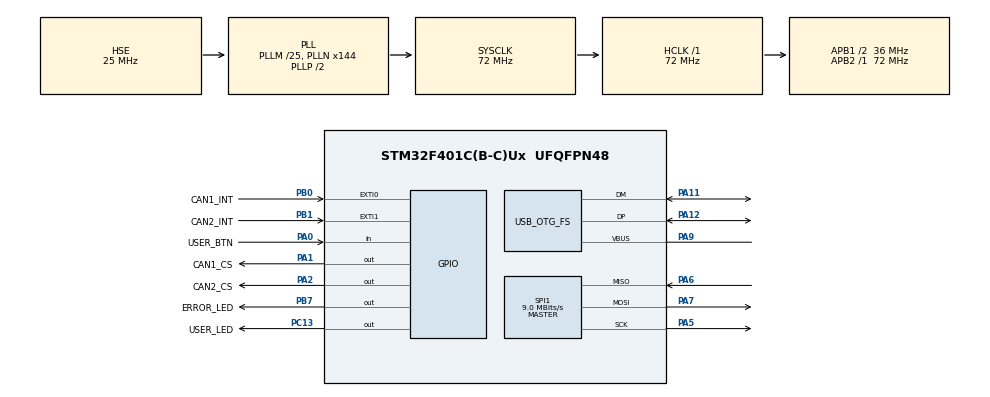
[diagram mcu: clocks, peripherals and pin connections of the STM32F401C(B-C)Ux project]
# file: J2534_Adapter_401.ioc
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Mcu.Family=STM32F4
Mcu.Name=STM32F401C(B-C)Ux
Mcu.Package=UFQFPN48
NVIC.EXTI0_IRQn=true\:0\:0\:false\:false\:true\:true\:true\:true
NVIC.EXTI1_IRQn=true\:0\:0\:false\:false\:true\:true\:true\:true
NVIC.OTG_FS_IRQn=true\:0\:0\:false\:false\:true\:false\:true\:true
NVIC.PriorityGroup=NVIC_PRIORITYGROUP_4
PA0-WKUP.GPIO_Label=USER_BTN
PA0-WKUP.GPIO_PuPd=GPIO_PULLUP
PA0-WKUP.Signal=GPIO_Input
PA1.GPIO_Label=CAN1_CS
PA1.PinState=GPIO_PIN_SET
PA1.Signal=GPIO_Output
PA11.Mode=Device_Only
PA11.Signal=USB_OTG_FS_DM
PA12.Mode=Device_Only
PA12.Signal=USB_OTG_FS_DP
PA13.Mode=Serial_Wire
PA13.Signal=SYS_JTMS-SWDIO
PA14.Mode=Serial_Wire
PA14.Signal=SYS_JTCK-SWCLK
PA2.GPIO_Label=CAN2_CS
PA2.PinState=GPIO_PIN_SET
PA2.Signal=GPIO_Output
PA5.Mode=Full_Duplex_Master
PA5.Signal=SPI1_SCK
PA6.Mode=Full_Duplex_Master
PA6.Signal=SPI1_MISO
PA7.Mode=Full_Duplex_Master
PA7.Signal=SPI1_MOSI
PA9.Mode=Activate_VBUS
PA9.Signal=USB_OTG_FS_VBUS
PB0.GPIO_Label=CAN1_INT
PB0.GPIO_ModeDefaultEXTI=GPIO_MODE_IT_FALLING
PB0.Signal=GPXTI0
PB1.GPIO_Label=CAN2_INT
PB1.GPIO_ModeDefaultEXTI=GPIO_MODE_IT_FALLING
PB1.Signal=GPXTI1
PB7.GPIO_Label=ERROR_LED
PB7.GPIO_ModeDefaultOutputPP=GPIO_MODE_OUTPUT_OD
PB7.GPIO_PuPd=GPIO_NOPULL
PB7.PinState=GPIO_PIN_SET
PB7.Signal=GPIO_Output
PC13-ANTI_TAMP.GPIO_Label=USER_LED
PC13-ANTI_TAMP.GPIO_ModeDefaultOutputPP=GPIO_MODE_OUTPUT_OD
PC13-ANTI_TAMP.GPIO_PuPd=GPIO_NOPULL
PC13-ANTI_TAMP.PinState=GPIO_PIN_SET
PC13-ANTI_TAMP.Signal=GPIO_Output
PC14-OSC32_IN.Mode=LSE-External-Oscillator
PC14-OSC32_IN.Signal=RCC_OSC32_IN
PC15-OSC32_OUT.Mode=LSE-External-Oscillator
PC15-OSC32_OUT.Signal=RCC_OSC32_OUT
PH0\ -\ OSC_IN.Mode=HSE-External-Oscillator
PH0\ -\ OSC_IN.Signal=RCC_OSC_IN
PH1\ -\ OSC_OUT.Mode=HSE-External-Oscillator
PH1\ -\ OSC_OUT.Signal=RCC_OSC_OUT
ProjectManager.HeapSize=0x200
ProjectManager.StackSize=0x400
ProjectManager.TargetToolchain=STM32CubeIDE
RCC.48MHZClocksFreq_Value=48000000
RCC.AHBFreq_Value=72000000
RCC.APB1CLKDivider=RCC_HCLK_DIV2
RCC.APB1Freq_Value=36000000
RCC.APB1TimFreq_Value=72000000
RCC.APB2Freq_Value=72000000
RCC.APB2TimFreq_Value=72000000
RCC.CortexFreq_Value=72000000
RCC.HCLKFreq_Value=72000000
RCC.HSE_VALUE=25000000
RCC.HSI_VALUE=16000000
RCC.PLLM=25
RCC.PLLN=144
RCC.PLLQ=3
RCC.RCC_RTC_Clock_Source=RCC_RTCCLKSOURCE_LSE
RCC.RCC_RTC_Clock_SourceVirtual=RCC_RTCCLKSOURCE_LSE
RCC.SYSCLKFreq_VALUE=72000000
RCC.SYSCLKSource=RCC_SYSCLKSOURCE_PLLCLK
RCC.VCOOutputFreq_Value=144000000
SPI1.BaudRatePrescaler=SPI_BAUDRATEPRESCALER_8
SPI1.CalculateBaudRate=9.0 MBits/s
SPI1.Direction=SPI_DIRECTION_2LINES
SPI1.Mode=SPI_MODE_MASTER
SPI1.VirtualType=VM_MASTER
USB_DEVICE.CLASS_NAME_FS=CDC
USB_DEVICE.USBD_SELF_POWERED=0
USB_DEVICE.VirtualMode=Cdc
USB_DEVICE.VirtualModeFS=Cdc_FS
USB_OTG_FS.VirtualMode=Device_Only
VP_RTC_VS_RTC_Activate.Mode=RTC_Enabled
VP_USB_DEVICE_VS_USB_DEVICE_CDC_FS.Mode=CDC_FS
board=custom

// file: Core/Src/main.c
/* USER CODE BEGIN Header */
/**
  ******************************************************************************
  * @file           : main.c
  * @brief          : Main program body
  ******************************************************************************
  * @attention
  *
  * Copyright (c) 2022 STMicroelectronics.
  * All rights reserved.
  *
  * This software is licensed under terms that can be found in the LICENSE file
  * in the root directory of this software component.
  * If no LICENSE file comes with this software, it is provided AS-IS.
  *
  ******************************************************************************
  */
/* USER CODE END Header */
#include "main.h"
#include "usb_vcp/usb_device.h"

/* USER CODE BEGIN Includes */

#include "Button.h"
#include "PassThru/PassThruCore.h"

/* USER CODE END Includes */

RTC_HandleTypeDef hrtc;

SPI_HandleTypeDef hspi1;

/* USER CODE BEGIN PV */

// User LED Variables
uint32_t ledTimer = 0;
uint32_t ledDuty = 512;
uint32_t ledPwmCounter = 0U;
uint32_t ledDutyTimer = 0;
uint32_t dutyDirection = 1;
uint32_t ledMode = 0;

Button_TypeDef user_btn;

/* USER CODE END PV */

void SystemClock_Config(void);
static void MX_GPIO_Init(void);
static void MX_RTC_Init(void);
static void MX_SPI1_Init(void);
/* USER CODE BEGIN PFP */

static void User_LED_Init();
static void breatheTick();

/* USER CODE END PFP */

int main(void)
{

  /* MCU Configuration--------------------------------------------------------*/

  /* Reset of all peripherals, Initializes the Flash interface and the Systick. */
  HAL_Init();

  /* Configure the system clock */
  SystemClock_Config();

  /* Initialize all configured peripherals */
  MX_GPIO_Init();
  MX_RTC_Init();
  MX_SPI1_Init();
  MX_USB_DEVICE_Init();
  /* USER CODE BEGIN 2 */

  // Initialize device modules
  PassThru_init(&hspi1);
  User_LED_Init();
  Btn_Init(&user_btn, USER_BTN_GPIO_Port, USER_BTN_Pin, GPIO_PIN_RESET);

  /* USER CODE END 2 */

  /* Infinite loop */
  /* USER CODE BEGIN WHILE */
  while (1)
  {
    if (Btn_Check(&user_btn)) {
      ledMode = !ledMode;
    }

    breatheTick();
    PassThru_tick();

    /* USER CODE END WHILE */

  }
}

void SystemClock_Config(void)
{
  RCC_OscInitTypeDef RCC_OscInitStruct = {0};
  RCC_ClkInitTypeDef RCC_ClkInitStruct = {0};

  /** Configure the main internal regulator output voltage
  */
  __HAL_RCC_PWR_CLK_ENABLE();
  __HAL_PWR_VOLTAGESCALING_CONFIG(PWR_REGULATOR_VOLTAGE_SCALE2);

  /** Initializes the RCC Oscillators according to the specified parameters
  * in the RCC_OscInitTypeDef structure.
  */
  RCC_OscInitStruct.OscillatorType = RCC_OSCILLATORTYPE_HSE|RCC_OSCILLATORTYPE_LSE;
  RCC_OscInitStruct.HSEState = RCC_HSE_ON;
  RCC_OscInitStruct.LSEState = RCC_LSE_ON;
  RCC_OscInitStruct.PLL.PLLState = RCC_PLL_ON;
  RCC_OscInitStruct.PLL.PLLSource = RCC_PLLSOURCE_HSE;
  RCC_OscInitStruct.PLL.PLLM = 25;
  RCC_OscInitStruct.PLL.PLLN = 144;
  RCC_OscInitStruct.PLL.PLLP = RCC_PLLP_DIV2;
  RCC_OscInitStruct.PLL.PLLQ = 3;
  if (HAL_RCC_OscConfig(&RCC_OscInitStruct) != HAL_OK)
  {
    Error_Handler();
  }

  /** Initializes the CPU, AHB and APB buses clocks
  */
  RCC_ClkInitStruct.ClockType = RCC_CLOCKTYPE_HCLK|RCC_CLOCKTYPE_SYSCLK
                              |RCC_CLOCKTYPE_PCLK1|RCC_CLOCKTYPE_PCLK2;
  RCC_ClkInitStruct.SYSCLKSource = RCC_SYSCLKSOURCE_PLLCLK;
  RCC_ClkInitStruct.AHBCLKDivider = RCC_SYSCLK_DIV1;
  RCC_ClkInitStruct.APB1CLKDivider = RCC_HCLK_DIV2;
  RCC_ClkInitStruct.APB2CLKDivider = RCC_HCLK_DIV1;

  if (HAL_RCC_ClockConfig(&RCC_ClkInitStruct, FLASH_LATENCY_2) != HAL_OK)
  {
    Error_Handler();
  }
}

static void MX_RTC_Init(void)
{

  /** Initialize RTC Only
  */
  hrtc.Instance = RTC;
  hrtc.Init.HourFormat = RTC_HOURFORMAT_24;
  hrtc.Init.AsynchPrediv = 127;
  hrtc.Init.SynchPrediv = 255;
  hrtc.Init.OutPut = RTC_OUTPUT_DISABLE;
  hrtc.Init.OutPutPolarity = RTC_OUTPUT_POLARITY_HIGH;
  hrtc.Init.OutPutType = RTC_OUTPUT_TYPE_OPENDRAIN;
  if (HAL_RTC_Init(&hrtc) != HAL_OK)
  {
    Error_Handler();
  }

}

static void MX_SPI1_Init(void)
{

  /* SPI1 parameter configuration*/
  hspi1.Instance = SPI1;
  hspi1.Init.Mode = SPI_MODE_MASTER;
  hspi1.Init.Direction = SPI_DIRECTION_2LINES;
  hspi1.Init.DataSize = SPI_DATASIZE_8BIT;
  hspi1.Init.CLKPolarity = SPI_POLARITY_LOW;
  hspi1.Init.CLKPhase = SPI_PHASE_1EDGE;
  hspi1.Init.NSS = SPI_NSS_SOFT;
  hspi1.Init.BaudRatePrescaler = SPI_BAUDRATEPRESCALER_8;
  hspi1.Init.FirstBit = SPI_FIRSTBIT_MSB;
  hspi1.Init.TIMode = SPI_TIMODE_DISABLE;
  hspi1.Init.CRCCalculation = SPI_CRCCALCULATION_DISABLE;
  hspi1.Init.CRCPolynomial = 10;
  if (HAL_SPI_Init(&hspi1) != HAL_OK)
  {
    Error_Handler();
  }

}

static void MX_GPIO_Init(void)
{
  GPIO_InitTypeDef GPIO_InitStruct = {0};

  /* GPIO Ports Clock Enable */
  __HAL_RCC_GPIOC_CLK_ENABLE();
  __HAL_RCC_GPIOH_CLK_ENABLE();
  __HAL_RCC_GPIOA_CLK_ENABLE();
  __HAL_RCC_GPIOB_CLK_ENABLE();

  /*Configure GPIO pin Output Level */
  HAL_GPIO_WritePin(USER_LED_GPIO_Port, USER_LED_Pin, GPIO_PIN_SET);

  /*Configure GPIO pin Output Level */
  HAL_GPIO_WritePin(GPIOA, CAN1_CS_Pin|CAN2_CS_Pin, GPIO_PIN_SET);

  /*Configure GPIO pin Output Level */
  HAL_GPIO_WritePin(ERROR_LED_GPIO_Port, ERROR_LED_Pin, GPIO_PIN_SET);

  /*Configure GPIO pin : USER_LED_Pin */
  GPIO_InitStruct.Pin = USER_LED_Pin;
  GPIO_InitStruct.Mode = GPIO_MODE_OUTPUT_OD;
  GPIO_InitStruct.Pull = GPIO_NOPULL;
  GPIO_InitStruct.Speed = GPIO_SPEED_FREQ_LOW;
  HAL_GPIO_Init(USER_LED_GPIO_Port, &GPIO_InitStruct);

  /*Configure GPIO pin : USER_BTN_Pin */
  GPIO_InitStruct.Pin = USER_BTN_Pin;
  GPIO_InitStruct.Mode = GPIO_MODE_INPUT;
  GPIO_InitStruct.Pull = GPIO_PULLUP;
  HAL_GPIO_Init(USER_BTN_GPIO_Port, &GPIO_InitStruct);

  /*Configure GPIO pins : CAN1_CS_Pin CAN2_CS_Pin */
  GPIO_InitStruct.Pin = CAN1_CS_Pin|CAN2_CS_Pin;
  GPIO_InitStruct.Mode = GPIO_MODE_OUTPUT_PP;
  GPIO_InitStruct.Pull = GPIO_NOPULL;
  GPIO_InitStruct.Speed = GPIO_SPEED_FREQ_LOW;
  HAL_GPIO_Init(GPIOA, &GPIO_InitStruct);

  /*Configure GPIO pins : CAN1_INT_Pin CAN2_INT_Pin */
  GPIO_InitStruct.Pin = CAN1_INT_Pin|CAN2_INT_Pin;
  GPIO_InitStruct.Mode = GPIO_MODE_IT_FALLING;
  GPIO_InitStruct.Pull = GPIO_NOPULL;
  HAL_GPIO_Init(GPIOB, &GPIO_InitStruct);

  /*Configure GPIO pin : ERROR_LED_Pin */
  GPIO_InitStruct.Pin = ERROR_LED_Pin;
  GPIO_InitStruct.Mode = GPIO_MODE_OUTPUT_OD;
  GPIO_InitStruct.Pull = GPIO_NOPULL;
  GPIO_InitStruct.Speed = GPIO_SPEED_FREQ_LOW;
  HAL_GPIO_Init(ERROR_LED_GPIO_Port, &GPIO_InitStruct);

  /* EXTI interrupt init*/
  HAL_NVIC_SetPriority(EXTI0_IRQn, 0, 0);

  HAL_NVIC_SetPriority(EXTI1_IRQn, 0, 0);

}

/* USER CODE BEGIN 4 */

static void User_LED_Init()
{
  ledTimer = HAL_GetTick();
  ledDutyTimer = HAL_GetTick();
}

static void breatheTick()
{
  if (ledMode == 0) {
    // имитация аппаратного счетчика
    ++ledPwmCounter;
    if (ledPwmCounter > 1023) {
      ledPwmCounter = 0;
    }

    // изменение коэффициента заполнения Ш�?М раз в 1 мс
    if (ledDutyTimer + 1 < HAL_GetTick()) {
      ledDutyTimer = HAL_GetTick();
      if ((ledDuty == 0) || (ledDuty == 1023)) {
        dutyDirection = !dutyDirection;
      }

      ledDuty += (dutyDirection) ? 1 : -1;
    }

    // установка состояния выхода в зависимости от текущего состояния счетчика и коэффициента заполнения
    HAL_GPIO_WritePin(USER_LED_GPIO_Port, USER_LED_Pin, (ledPwmCounter < ledDuty) ? GPIO_PIN_RESET : GPIO_PIN_SET);
  } else {
    if (ledTimer + 500 < HAL_GetTick()){
      HAL_GPIO_TogglePin(USER_LED_GPIO_Port, USER_LED_Pin);
      ledTimer = HAL_GetTick();
    }
  }
}

/* USER CODE END 4 */

void Error_Handler(void)
{
  /* USER CODE BEGIN Error_Handler_Debug */
  /* User can add his own implementation to report the HAL error return state */
  __disable_irq();

  HAL_GPIO_WritePin(ERROR_LED_GPIO_Port, ERROR_LED_Pin, GPIO_PIN_RESET);
  while (1)
  {

  }
  /* USER CODE END Error_Handler_Debug */
}
